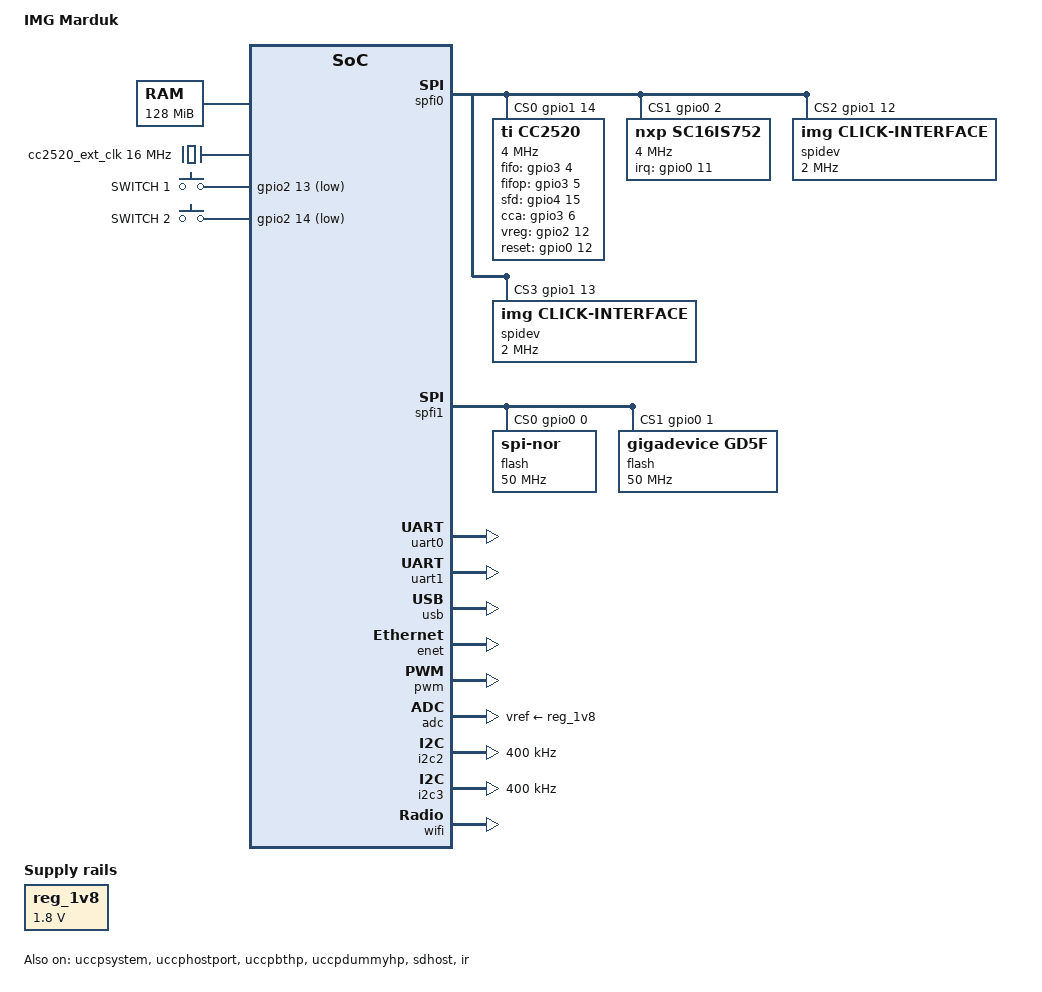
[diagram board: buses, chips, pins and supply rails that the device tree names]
/*
 * Copyright (C) 2015 Imagination Technologies Ltd.
 * Copyright (C) 2015 Google, Inc.
 *
 * This program is free software; you can redistribute it and/or modify
 * it under the terms of the GNU General Public License version 2 as
 * published by the Free Software Foundation.
 */

/dts-v1/;

#include "pistachio.dtsi"
#include <dt-bindings/sound/pistachio-audio.h>

/ {
	model = "IMG Marduk";
	compatible = "img,pistachio-marduk", "img,pistachio";

	aliases {
		serial0 = &uart0;
		serial1 = &uart1;
		ethernet0 = &enet;
	};

	chosen {
		bootargs = "console=ttyS1,115200n8 earlycon=uart8250,mmio32,0x18101500,115200 root=/dev/sda1 rootwait ro";
	};

	memory {
		device_type = "memory";
		reg =  <0x00000000 0x08000000>;
	};

	reg_1v8: fixed-regulator {
		compatible = "regulator-fixed";
		regulator-name = "aux_adc_vref";
		regulator-min-microvolt = <1800000>;
		regulator-max-microvolt = <1800000>;
		regulator-boot-on;
	};

	pistachio_audio_card {
			compatible = "img,pistachio-audio";

			clocks = <&clk_core CLK_AUDIO_PLL>,
				 <&clk_core CLK_I2S>,
				 <&clk_core CLK_AUDIO>;
			clock-names = "audio_pll", "i2s_mclk", "dac_clk";

			img,cr-periph = <&cr_periph>;

			pinctrl-names = "default";
			pinctrl-0 = <&dac_clk_pin>, <&i2s_mclk_pin>;

			spdif-out {
				cpu-dai = <&spdif_out>;
			};

			spdif-in {
				cpu-dai = <&spdif_in>;
			};

			parallel-out {
				cpu-dai = <&parallel_out>;
				sound-dai = <&internal_dac>;
			};

			i2s-out {
				cpu-dai = <&i2s_out>;
				format = "i2s";
			};

			i2s-in {
				cpu-dai = <&i2s_in>;
				format = "i2s";
			};
		};

	/* EXT clock from cc2520 is fed to sc16is752 */
	cc2520_ext_clk: cc2520-ext-clk {
		compatible = "fixed-clock";
		#clock-cells = <0>;
		clock-frequency = <16000000>;
		clock-output-names = "cc2520_ext_clock";
	};

	gpio_keys {
		compatible = "gpio-keys";
		switch@1 {
			label = "SWITCH 1";
			linux,code = <0x101>; /* BTN_1 */
			gpios = <&gpio2 13 GPIO_ACTIVE_LOW>;
		};
		switch@2 {
			label = "SWITCH 2";
			linux,code = <0x102>; /* BTN_2 */
			gpios = <&gpio2 14 GPIO_ACTIVE_LOW>;
		};
	};
};

&spim0_clk {
	drive-strength = <2>;
};

&spfi0 {
	status = "okay";
	pinctrl-0 = <&spim0_pins>;
	pinctrl-names = "default";

	cs-gpios = <&gpio1 14 GPIO_ACTIVE_HIGH>, <&gpio0 2 GPIO_ACTIVE_HIGH>,
			<&gpio1 12 GPIO_ACTIVE_HIGH>, <&gpio1 13 GPIO_ACTIVE_HIGH>;

	cc2520@0 {
		compatible = "ti,cc2520";
		reg = <0>;
		spi-max-frequency = <4000000>;
		fifo-gpio = <&gpio3 4 GPIO_ACTIVE_HIGH>;
		fifop-gpio = <&gpio3 5 GPIO_ACTIVE_HIGH>;
		sfd-gpio = <&gpio4 15 GPIO_ACTIVE_HIGH>;
		cca-gpio = <&gpio3 6 GPIO_ACTIVE_HIGH>;
		vreg-gpio = <&gpio2 12 GPIO_ACTIVE_HIGH>;
		reset-gpio = <&gpio0 12 GPIO_ACTIVE_HIGH>;
		extclock-freq = <16000000>;
	};

	sc16is752@1 {
		compatible = "nxp,sc16is752";
		reg = <1>;
		clocks = <&cc2520_ext_clk>;
		spi-max-frequency = <4000000>;
		interrupt-parent = <&gpio0>;
		interrupts = <11 IRQ_TYPE_EDGE_FALLING>;
		gpio-controller;
		#gpio-cells = <2>;
	};

	spidev@2 {
		compatible = "img,click-interface";
		reg = <2>;
		spi-max-frequency = <2000000>;
	};

	spidev@3 {
		compatible = "img,click-interface";
		reg = <3>;
		spi-max-frequency = <2000000>;
	};
};

&spfi1 {
	status = "okay";

	pinctrl-0 = <&spim1_pins>, <&spim1_quad_pins>;
	pinctrl-names = "default";
	cs-gpios = <&gpio0 0 GPIO_ACTIVE_HIGH>, <&gpio0 1 GPIO_ACTIVE_HIGH>;

	flash@0 {
		compatible = "jedec,spi-nor";
		reg = <0>;
		spi-max-frequency = <50000000>;
		linux,mtd-name = "spi-nor";
	};

	flash@1 {
		compatible = "gigadevice,gd5f";
		reg = <1>;
		spi-max-frequency = <50000000>;
		nand-on-flash-bbt;
		#address-cells = <1>;
		#size-cells = <1>;
		linux,mtd-name = "spi-nand";
	};
};

&uccpsystem {
	status = "okay";
};

&uccphostport {
	status = "okay";
};

&uccpbthp {
	status = "okay";
};

&uccpdummyhp {
	status = "okay";
};

&uart0 {
	status = "okay";
	assigned-clock-rates = <114278400>, <1843200>;
};

&uart1 {
	status = "okay";
};

&usb {
	status = "okay";
};

&usb_phy {
	pinctrl-names = "default";
	pinctrl-0 = <&usb_pwr_on_pins>;
	enable-vbus-drive;
};

&enet {
	status = "okay";

	mac-address = [0123456789AB];
};

&sdhost {
	status = "okay";
	disable-wp;
};

&ir {
	status = "okay";
};

&pwm {
	status = "okay";

	pinctrl-0 = <&pwmpdm0_pin>, <&pwmpdm1_pin>, <&pwmpdm2_pin>,
		    <&pwmpdm3_pin>;
	pinctrl-names = "default";
};

&adc {
	status = "okay";
	vref-supply = <&reg_1v8>;
};

&i2c2 {
	status = "okay";
	clock-frequency = <400000>;
};

&i2c3 {
	status = "okay";
	clock-frequency = <400000>;
};

&wifi {
       status = "okay";
       mac-address0 = [0123456789AC];
       mac-address1 = [0123456789AD];
       rf-params = [1E00000000002426292A2C2E3237393F454A52576066000000002B2C3033373A3D44474D51575A61656B6F000000002B2C3033373A3D44474D51575A61656B6F000000002B2C3033373A3D44474D51575A61656B6F000000002B2C3033373A3D44474D51575A61656B6F00000000002426292A2C2E3237393F454A52576066000000002B2C3033373A3D44474D51575A61656B6F000000002B2C3033373A3D44474D51575A61656B6F000000002B2C3033373A3D44474D51575A61656B6F000000002B2C3033373A3D44474D51575A61656B6F0808080808080808080808080808080808080808080808080808080808080808080808080808080808080808080808080808080808080808080808080808080808080808080808080808080808080808080808080808080808080808080808080808080808080808080808080808080808080808080808080808080808080808080808080808080808080808080808080808080808080808080808080808];
       num_streams = [02];
};

&i2s_out {
	status = "okay";
	pinctrl-names = "default";
	pinctrl-0 = <&i2s_out_pins>;
};

&i2s_in {
	status = "okay";
	pinctrl-names = "default";
	pinctrl-0 = <&i2s_in_pins>;
};

&i2s_out_pins {
	i2s-out {
		pins = "mfio37", "mfio38", "mfio39",
		       "mfio40", "mfio41";
		function = "i2s_out";
	};
};

&i2s_in_pins {
	i2s-in {
		pins = "mfio47", "mfio48", "mfio49",
		       "mfio50", "mfio51";
		function = "i2s_in";
	};
};

&spdif_out {
	status = "okay";
};

&spdif_in {
	status = "okay";
};

&parallel_out {
	status = "okay";
};
